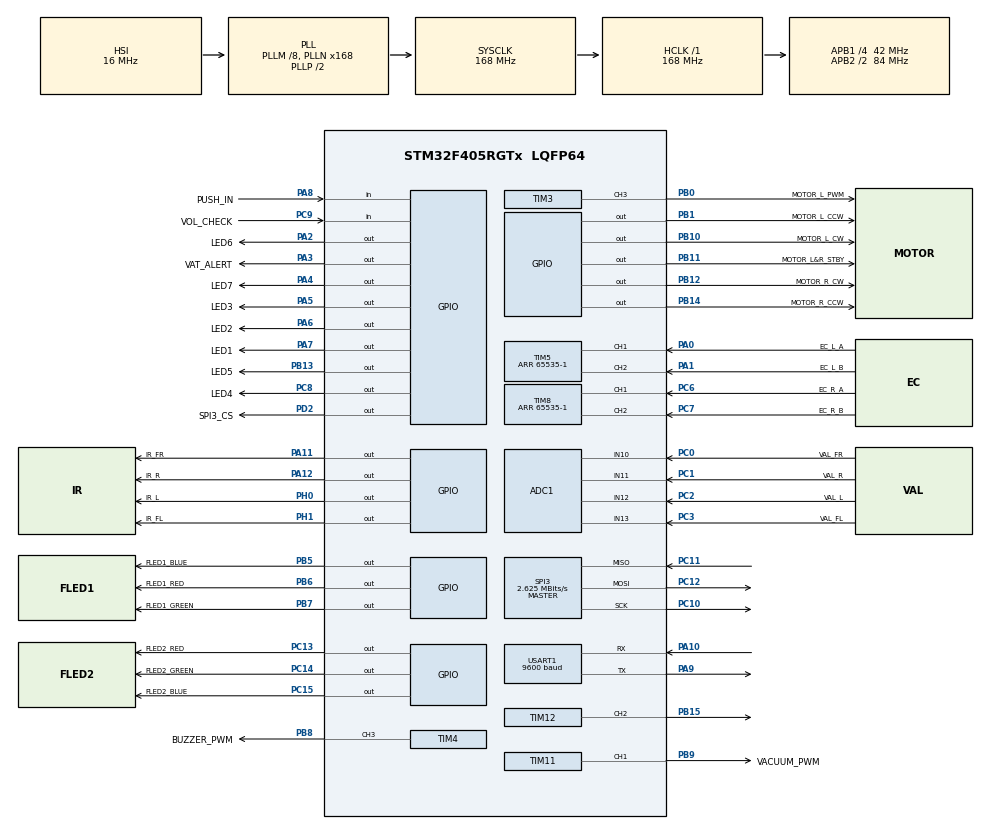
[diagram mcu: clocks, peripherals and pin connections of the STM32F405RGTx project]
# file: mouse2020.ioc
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ADC1.Channel-0\#ChannelRegularConversion=ADC_CHANNEL_10
ADC1.NbrOfConversionFlag=1
ADC1.Rank-0\#ChannelRegularConversion=1
ADC1.SamplingTime-0\#ChannelRegularConversion=ADC_SAMPLETIME_3CYCLES
ADC1.master=1
Mcu.Family=STM32F4
Mcu.Name=STM32F405RGTx
Mcu.Package=LQFP64
NVIC.PriorityGroup=NVIC_PRIORITYGROUP_4
NVIC.TIM6_DAC_IRQn=true\:0\:0\:false\:false\:true\:true\:true
PA0-WKUP.GPIO_Label=EC_L_A
PA0-WKUP.Signal=S_TIM5_CH1
PA1.GPIO_Label=EC_L_B
PA1.Signal=S_TIM5_CH2
PA10.Mode=Asynchronous
PA10.Signal=USART1_RX
PA11.GPIO_Label=IR_FR
PA11.Signal=GPIO_Output
PA12.GPIO_Label=IR_R
PA12.Signal=GPIO_Output
PA2.GPIO_Label=LED6
PA2.Signal=GPIO_Output
PA3.GPIO_Label=VAT_ALERT
PA3.Signal=GPIO_Output
PA4.GPIO_Label=LED7
PA4.Signal=GPIO_Output
PA5.GPIO_Label=LED3
PA5.Signal=GPIO_Output
PA6.GPIO_Label=LED2
PA6.Signal=GPIO_Output
PA7.GPIO_Label=LED1
PA7.Signal=GPIO_Output
PA8.GPIO_Label=PUSH_IN
PA8.Signal=GPIO_Input
PA9.Mode=Asynchronous
PA9.Signal=USART1_TX
PB0.GPIO_Label=MOTOR_L_PWM
PB0.Signal=S_TIM3_CH3
PB1.GPIO_Label=MOTOR_L_CCW
PB1.Signal=GPIO_Output
PB10.GPIO_Label=MOTOR_L_CW
PB10.Signal=GPIO_Output
PB11.GPIO_Label=MOTOR_L&R_STBY
PB11.Signal=GPIO_Output
PB12.GPIO_Label=MOTOR_R_CW
PB12.Signal=GPIO_Output
PB13.GPIO_Label=LED5
PB13.Signal=GPIO_Output
PB14.GPIO_Label=MOTOR_R_CCW
PB14.Signal=GPIO_Output
PB15.Signal=S_TIM12_CH2
PB5.GPIO_Label=FLED1_BLUE
PB5.Signal=GPIO_Output
PB6.GPIO_Label=FLED1_RED
PB6.Signal=GPIO_Output
PB7.GPIO_Label=FLED1_GREEN
PB7.Signal=GPIO_Output
PB8.GPIO_Label=BUZZER_PWM
PB8.Signal=S_TIM4_CH3
PB9.GPIO_Label=VACUUM_PWM
PB9.Signal=S_TIM11_CH1
PC0.GPIO_Label=VAL_FR
PC0.Signal=ADCx_IN10
PC1.GPIO_Label=VAL_R
PC1.Signal=ADCx_IN11
PC10.Mode=Full_Duplex_Master
PC10.Signal=SPI3_SCK
PC11.Mode=Full_Duplex_Master
PC11.Signal=SPI3_MISO
PC12.Mode=Full_Duplex_Master
PC12.Signal=SPI3_MOSI
PC13-ANTI_TAMP.GPIO_Label=FLED2_RED
PC13-ANTI_TAMP.Signal=GPIO_Output
PC14-OSC32_IN.GPIO_Label=FLED2_GREEN
PC14-OSC32_IN.Signal=GPIO_Output
PC15-OSC32_OUT.GPIO_Label=FLED2_BLUE
PC15-OSC32_OUT.Signal=GPIO_Output
PC2.GPIO_Label=VAL_L
PC2.Signal=ADCx_IN12
PC3.GPIO_Label=VAL_FL
PC3.Signal=ADCx_IN13
PC6.GPIO_Label=EC_R_A
PC6.Signal=S_TIM8_CH1
PC7.GPIO_Label=EC_R_B
PC7.Signal=S_TIM8_CH2
PC8.GPIO_Label=LED4
PC8.Signal=GPIO_Output
PC9.GPIO_Label=VOL_CHECK
PC9.GPIO_PuPd=GPIO_PULLUP
PC9.Signal=GPIO_Input
PD2.GPIO_Label=SPI3_CS
PD2.Signal=GPIO_Output
PH0-OSC_IN.GPIO_Label=IR_L
PH0-OSC_IN.Signal=GPIO_Output
PH1-OSC_OUT.GPIO_Label=IR_FL
PH1-OSC_OUT.Signal=GPIO_Output
ProjectManager.HeapSize=0x200
ProjectManager.StackSize=0x400
ProjectManager.TargetToolchain=STM32CubeIDE
RCC.48MHZClocksFreq_Value=84000000
RCC.AHBFreq_Value=168000000
RCC.APB1CLKDivider=RCC_HCLK_DIV4
RCC.APB1Freq_Value=42000000
RCC.APB1TimFreq_Value=84000000
RCC.APB2CLKDivider=RCC_HCLK_DIV2
RCC.APB2Freq_Value=84000000
RCC.APB2TimFreq_Value=168000000
RCC.CortexFreq_Value=168000000
RCC.HCLKFreq_Value=168000000
RCC.HSE_VALUE=25000000
RCC.HSI_VALUE=16000000
RCC.LSE_VALUE=32768
RCC.PLLM=8
RCC.PLLN=168
RCC.SYSCLKFreq_VALUE=168000000
RCC.SYSCLKSource=RCC_SYSCLKSOURCE_PLLCLK
RCC.VCOOutputFreq_Value=336000000
SH.ADCx_IN10.0=ADC1_IN10,IN10
SH.ADCx_IN11.0=ADC1_IN11,IN11
SH.ADCx_IN12.0=ADC1_IN12,IN12
SH.ADCx_IN13.0=ADC1_IN13,IN13
SH.S_TIM11_CH1.0=TIM11_CH1,PWM Generation1 CH1
SH.S_TIM12_CH2.0=TIM12_CH2,PWM Generation2 CH2
SH.S_TIM3_CH3.0=TIM3_CH3,PWM Generation3 CH3
SH.S_TIM4_CH3.0=TIM4_CH3,PWM Generation3 CH3
SH.S_TIM5_CH1.0=TIM5_CH1,Encoder_Interface
SH.S_TIM5_CH2.0=TIM5_CH2,Encoder_Interface
SH.S_TIM8_CH1.0=TIM8_CH1,Encoder_Interface
SH.S_TIM8_CH2.0=TIM8_CH2,Encoder_Interface
SPI3.BaudRatePrescaler=SPI_BAUDRATEPRESCALER_16
SPI3.CalculateBaudRate=2.625 MBits/s
SPI3.Direction=SPI_DIRECTION_2LINES
SPI3.Mode=SPI_MODE_MASTER
SPI3.VirtualType=VM_MASTER
TIM11.Channel=TIM_CHANNEL_1
TIM11.Period=1000-1
TIM12.Channel-PWM\ Generation2\ CH2=TIM_CHANNEL_2
TIM12.Period=1000-1
TIM3.Channel-PWM\ Generation3\ CH3=TIM_CHANNEL_3
TIM3.Period=1000-1
TIM4.Channel-PWM\ Generation3\ CH3=TIM_CHANNEL_3
TIM5.EncoderMode=TIM_ENCODERMODE_TI12
TIM5.Period=65535-1
TIM6.Period=1000-1
TIM6.Prescaler=84-1
TIM8.EncoderMode=TIM_ENCODERMODE_TI12
TIM8.Period=65535-1
USART1.BaudRate=9600
USART1.VirtualMode=VM_ASYNC
VP_TIM11_VS_ClockSourceINT.Mode=Enable_Timer
VP_TIM12_VS_ClockSourceINT.Mode=Internal
VP_TIM3_VS_ClockSourceINT.Mode=Internal
VP_TIM6_VS_ClockSourceINT.Mode=Enable_Timer
board=custom

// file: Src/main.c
/* USER CODE BEGIN Header */
/**
  ******************************************************************************
  * @file           : main.c
  * @brief          : Main program body
  ******************************************************************************
  * @attention
  *
  * <h2><center>&copy; Copyright (c) 2019 STMicroelectronics.
  * All rights reserved.</center></h2>
  *
  * This software component is licensed by ST under BSD 3-Clause license,
  * the "License"; You may not use this file except in compliance with the
  * License. You may obtain a copy of the License at:
  *                        opensource.org/licenses/BSD-3-Clause
  *
  ******************************************************************************
  */
/* USER CODE END Header */

#include "main.h"

/* USER CODE BEGIN Includes */
#include <stdio.h>
#include "math.h"

#define MAIN_C_
#include "global.h"

/* USER CODE END Includes */

ADC_HandleTypeDef hadc1;

SPI_HandleTypeDef hspi3;

TIM_HandleTypeDef htim3;
TIM_HandleTypeDef htim4;
TIM_HandleTypeDef htim5;
TIM_HandleTypeDef htim6;
TIM_HandleTypeDef htim8;
TIM_HandleTypeDef htim11;
TIM_HandleTypeDef htim12;

UART_HandleTypeDef huart1;

/* USER CODE BEGIN PV */
int log_cnt = 0;
int gyro_cnt = 0;
int get_cnt = 0;
//int get_speed_l[log_allay];
//int get_speed_r[log_allay];

/* USER CODE END PV */

void SystemClock_Config(void);
static void MX_GPIO_Init(void);
static void MX_ADC1_Init(void);
static void MX_TIM8_Init(void);
static void MX_TIM5_Init(void);
static void MX_SPI3_Init(void);
static void MX_USART1_UART_Init(void);
static void MX_TIM3_Init(void);
static void MX_TIM12_Init(void);
static void MX_TIM4_Init(void);
static void MX_TIM11_Init(void);
static void MX_TIM6_Init(void);
/* USER CODE BEGIN PFP */
void buzzer(int, int);
int get_adc_value(ADC_HandleTypeDef*, uint32_t);

/* USER CODE END PFP */

/* USER CODE BEGIN 0 */
int __io_putchar(int c) {
  if( c == '\n' ) {
    int _c = '\r';
    HAL_UART_Transmit(&huart1, &_c, 1, 1);
  }
  HAL_UART_Transmit(&huart1, &c, 1, 1);
  return 0;
}

void HAL_TIM_PeriodElapsedCallback(TIM_HandleTypeDef *htim)
{
	TIM_OC_InitTypeDef ConfigOC;
	ConfigOC.OCMode = TIM_OCMODE_PWM1;
	ConfigOC.OCPolarity = TIM_OCPOLARITY_HIGH;
	ConfigOC.OCFastMode = TIM_OCFAST_DISABLE;

	if(htim == &htim6){
		cnt_l = TIM5 -> CNT;
		cnt_r = TIM8 -> CNT;
		if(cnt_l > 40000) cnt_l = cnt_l - 65535;		//0=>65505の値飛び検出用
		if(cnt_r > 40000) cnt_r = cnt_r - 65535;		//0=>65505の値飛び検出用
		cnt_r = cnt_r * -1;								//a回転方向合わせ

		dist_l = dist_l + cnt_l * (DIAMETER * M_PI * 11 / 42 / 4096 / 4);
		dist_r = dist_r + cnt_r * (DIAMETER * M_PI * 11 / 42 / 4096 / 4);

		speed_l = cnt_l * (DIAMETER * M_PI * 11 / 42 / 4096 / 4) / 0.001;
		speed_r = cnt_r * (DIAMETER * M_PI * 11 / 42 / 4096 / 4) / 0.001;

		TIM5 -> CNT = 0;
		TIM8 -> CNT = 0;

		if(MF.FLAG.SPD){
			target_speed_l += accel_l * 0.001;
			target_speed_l = max(min(target_speed_l, speed_max_l), speed_min_l);
			epsilon_l = target_speed_l - speed_l;
			pulse_l = Kpl * epsilon_l;

			target_speed_r += accel_r * 0.001;
			target_speed_r = max(min(target_speed_r, speed_max_r), speed_min_r);
			epsilon_r = target_speed_r - speed_r;
			pulse_r = Kpr * epsilon_r;
		}

		log_cnt ++;

		if(log_cnt >= 5 && MF2.FLAG.LOG){
			log_cnt = 0;
			if(get_cnt < log_allay){
				get_speed_l[get_cnt] = speed_l;
				get_speed_r[get_cnt] = speed_r;
				get_omega[get_cnt] = gyro_read_z();
				get_cnt++;
			}
		}

		//gyro interrupt
//		degree_x += accel_read_x() * 0.001;
//		degree_y += accel_read_y() * 0.001;
//		degree_z += accel_read_z() * 0.001;
//		degree_x += gyro_read_x() * 0.001;
//		degree_y += gyro_read_y() * 0.001;
		degree_z += gyro_read_z() * 0.001;

		//gyro ドリフト量計算
		if(MF2.FLAG.GDRIFT){
			gyro_cnt ++;
			sum_omega_z += gyro_read_z();
			full_led_write1(YELLOW);
			if(gyro_cnt >= 1000) {
				MF2.FLAG.GDRIFT = 0;
				gyro_drift_value = sum_omega_z / gyro_cnt;
				gyro_cnt = 0;
				full_led_write1(BLUEGREEN);
			}
			degree_z = 0;
			target_degree_z = 0;
		}

		if(MF2.FLAG.ENKAI){
			target_dist = TREAD*M_PI/360*(degree_z-target_degree_z);
			if(target_dist > 0){
				target_speed_l = sqrt(2*accel_l*target_dist);
				target_speed_r = -1 * target_speed_l;
			}else{
				target_speed_l = sqrt(2*accel_l*target_dist*-1)*-1;
				target_speed_r = -1 * target_speed_l;
			}

			epsilon_l = target_speed_l - speed_l;
			pulse_l = Kpl * epsilon_l;
			epsilon_r = target_speed_r - speed_r;
			pulse_r = Kpr * epsilon_r;
		}

		if(MF.FLAG.FWALL){
			target_speed_l = (int16_t)(OFFSET_FWALL_L - ad_fl)*0.5;//0.75;
			target_speed_r = (int16_t)(OFFSET_FWALL_R - ad_fr);//*1.5;

			if(target_speed_l*target_speed_l < 2500)target_speed_l = 0;
			if(target_speed_r*target_speed_r < 2500)target_speed_r = 0;
			if(target_speed_l == 0 && target_speed_r == 0){
				MF.FLAG.FWALL = 0;
				MF.FLAG.DRV = 0;
			}

			epsilon_l = target_speed_l - speed_l;
			pulse_l = Kpl * epsilon_l;
			epsilon_r = target_speed_r - speed_r;
			pulse_r = Kpr * epsilon_r;

			pulse_l = min(max(pulse_l, -100), 100);
			pulse_r = min(max(pulse_r, -100), 100);
		}

		if(MF.FLAG.GYRO){
			target_omega_z += target_degaccel_z * 0.001;
			target_omega_z = max(min(target_omega_z, omega_max), omega_min);

			epsilon_omega = target_omega_z - gyro_read_z();

			target_speed_l = speed_G - (target_omega_z + Kp_o*epsilon_omega)/180*M_PI*TREAD/2;
			target_speed_r = speed_G + (target_omega_z + Kp_o*epsilon_omega)/180*M_PI*TREAD/2;

			epsilon_l = target_speed_l - speed_l;
			pulse_l = Kpl * epsilon_l;
			epsilon_r = target_speed_r - speed_r;
			pulse_r = Kpr * epsilon_r;
		}

		//ADchange interrupt
		uint16_t delay;
		tp = (tp+1)%3;

		switch(tp){
		  case 0:
				HAL_GPIO_WritePin(IR_L_GPIO_Port, IR_L_Pin, GPIO_PIN_SET); 	//L
				for(delay=0; delay<sensor_wait; delay++);
				ad_l = get_adc_value(&hadc1, ADC_CHANNEL_12);				//L
				HAL_GPIO_WritePin(IR_L_GPIO_Port, IR_L_Pin, GPIO_PIN_RESET);

				HAL_GPIO_WritePin(IR_R_GPIO_Port, IR_R_Pin, GPIO_PIN_SET);  //R
				for(delay=0; delay<sensor_wait; delay++);
				ad_r = get_adc_value(&hadc1, ADC_CHANNEL_11);				//R
				HAL_GPIO_WritePin(IR_R_GPIO_Port, IR_R_Pin, GPIO_PIN_RESET);
			break;

		  case 1:
				HAL_GPIO_WritePin(IR_FL_GPIO_Port, IR_FL_Pin, GPIO_PIN_SET);//FL
				for(delay=0; delay<sensor_wait; delay++);
				ad_fl = get_adc_value(&hadc1, ADC_CHANNEL_13);				//FL
				HAL_GPIO_WritePin(IR_FL_GPIO_Port, IR_FL_Pin, GPIO_PIN_RESET);

				HAL_GPIO_WritePin(IR_FR_GPIO_Port, IR_FR_Pin, GPIO_PIN_SET);//FR
				for(delay=0; delay<sensor_wait; delay++);
				ad_fr = get_adc_value(&hadc1, ADC_CHANNEL_10);				//FR
				HAL_GPIO_WritePin(IR_FR_GPIO_Port, IR_FR_Pin, GPIO_PIN_RESET);
			break;

		  case 2:
				//
				if(MF.FLAG.WCTRL){
					int16_t dwl_tmp = 0, dwr_tmp = 0;
					if(!MF2.FLAG.V){											//a通常走行時
						dif_l = (int32_t) ad_l - base_l;
						dif_r = (int32_t) ad_r - base_r;

						if(dif_l > CTRL_BASE_L || dif_r > CTRL_BASE_R){
							if(dif_l > CTRL_BASE_L){
								dwl_tmp += CTRL_CONT_W * dif_l;					//a比例制御値を決定
								dwr_tmp += -1 * CTRL_CONT_W * dif_l;			//a比例制御値を決定
							}
							else if(dif_r > CTRL_BASE_R){
								dwl_tmp += -1 * CTRL_CONT_W * dif_r;			//a比例制御値を決定
								dwr_tmp += CTRL_CONT_W * dif_r;					//a比例制御値を決定
							}
							MF2.FLAG.WG = 1;
						}else{
							MF2.FLAG.WG = 0;
						}
					}else{														//a斜め走行時
						dif_l = (int32_t) ad_fl - BASE_FL;
						dif_r = (int32_t) ad_fr - BASE_FR;

						if(dif_l > CTRL_BASE_FL || dif_r > CTRL_BASE_FR){
							if(dif_l > CTRL_BASE_FL){
								dwl_tmp += CTRL_CONT_W * 0.1 * dif_l;				//a比例制御値を決定
								dwr_tmp += -1 * CTRL_CONT_W * 0.1 * dif_l;			//a比例制御値を決定
							}
							else if(dif_r > CTRL_BASE_FR){
								dwl_tmp += -1 * CTRL_CONT_W * 0.2 * dif_r;			//a比例制御値を決定
								dwr_tmp += CTRL_CONT_W * 0.2 * dif_r;				//a比例制御値を決定
							}
							MF2.FLAG.WG = 1;
						}else{
							MF2.FLAG.WG = 0;
						}
					}
					dwl = max(min(CTRL_MAX_W, dwl_tmp), -1 * CTRL_MAX_W);
					dwr = max(min(CTRL_MAX_W, dwr_tmp), -1 * CTRL_MAX_W);
				}else{
					//a制御フラグがなければ壁制御値0
					dwl = dwr = 0;
				}

				if(MF.FLAG.GCTRL){
/*					int16_t dg_tmp = 0;
					dif_g = (int32_t) gyro_read_z() - target_omega_z;		//a角速度閾値越え制御

					if(CTRL_BASE_G < dif_g){					//a角速度変化量が基準よりも大きい時(左回転が発生時)
						dg_tmp += CTRL_CONT_G * dif_g;			//a比例制御値を決定
					}
					else if(-1*CTRL_BASE_G > dif_g){			//a角速度変化量が負の基準よりも小さい時(右回転が発生時)
						dg_tmp += CTRL_CONT_G * dif_g;			//a比例制御値を決定
					}
					dg = max(min(CTRL_MAX_G, dg_tmp), -1 * CTRL_MAX_G);
					dgl = dg;
					dgr = -1*dg;
				}else{
					//a制御フラグがなければ壁制御値0
					dgl = dgr = 0;
				}

					dg = CTRL_CONT_G * gyro_read_z();			//a角速度制御
					dg = CTRL_CONT_G * degree_z;				//a角度制御
*/
					dg = CTRL_CONT_G * (target_degree_z - degree_z);		//a角度制御(目標角度はスタートを0度とし、旋回量と対応付け)

					dg = max(min(CTRL_MAX_G, dg), -1 * CTRL_MAX_G);
					dgl = -1*dg;
					dgr = dg;
				}else{
					//a制御フラグがなければジャイロ制御値0
					dgl = dgr = 0;
				}
				break;
		}

		if(MF.FLAG.DRV){
			if(!MF2.FLAG.WG){
				pulse_l = pulse_l + dgl + dwl;
				pulse_r = pulse_r + dgr + dwr;
//				pulse_l = pulse_l + dgl;
//				pulse_r = pulse_r + dgr;
			}else{
				pulse_l = pulse_l + dgl + dwl;
				pulse_r = pulse_r + dgr + dwr;
//				pulse_l = pulse_l + dwl;
//				pulse_r = pulse_r + dwr;
			}
			pulse_l = min(max(pulse_l, -1000), 1000);
			pulse_r = min(max(pulse_r, -1000), 1000);

			if(pulse_l >= 0){
				drive_dir(0, 0);
				ConfigOC.Pulse = pulse_l;
				HAL_TIM_PWM_ConfigChannel(&htim3, &ConfigOC, TIM_CHANNEL_3);
				HAL_TIM_PWM_Start(&htim3,TIM_CHANNEL_3);
			}
			else if(pulse_l < 0){
				drive_dir(0, 1);
				ConfigOC.Pulse = -pulse_l;
				HAL_TIM_PWM_ConfigChannel(&htim3, &ConfigOC, TIM_CHANNEL_3);
				HAL_TIM_PWM_Start(&htim3,TIM_CHANNEL_3);
			}

			if(pulse_r >= 0){
				drive_dir(1, 0);
				ConfigOC.Pulse = pulse_r;
				HAL_TIM_PWM_ConfigChannel(&htim12, &ConfigOC, TIM_CHANNEL_2);
				HAL_TIM_PWM_Start(&htim12,TIM_CHANNEL_2);
			}
			else if(pulse_r < 0){
				drive_dir(1, 1);
				ConfigOC.Pulse = -pulse_r;
				HAL_TIM_PWM_ConfigChannel(&htim12, &ConfigOC, TIM_CHANNEL_2);
				HAL_TIM_PWM_Start(&htim12,TIM_CHANNEL_2);
			}
		}else{
			drive_dir(0, 2);
			drive_dir(1, 2);
		}

		//wall check
		//----look L----
		if(ad_l > WALL_BASE_L){
			HAL_GPIO_WritePin(LED6_GPIO_Port, LED6_Pin, GPIO_PIN_SET);
		}else{
			HAL_GPIO_WritePin(LED6_GPIO_Port, LED6_Pin, GPIO_PIN_RESET);
		}
		//----look R----
		if(ad_r > WALL_BASE_R){
			HAL_GPIO_WritePin(LED4_GPIO_Port, LED4_Pin, GPIO_PIN_SET);
		}else{
			HAL_GPIO_WritePin(LED4_GPIO_Port, LED4_Pin, GPIO_PIN_RESET);
		}
		//----look FL----
		if(ad_fl > WALL_BASE_FL){
			HAL_GPIO_WritePin(LED7_GPIO_Port, LED7_Pin, GPIO_PIN_SET);
		}else{
			HAL_GPIO_WritePin(LED7_GPIO_Port, LED7_Pin, GPIO_PIN_RESET);
		}
		//----look FR----
		if(ad_fr > WALL_BASE_FR){
			HAL_GPIO_WritePin(LED5_GPIO_Port, LED5_Pin, GPIO_PIN_SET);
		}else{
			HAL_GPIO_WritePin(LED5_GPIO_Port, LED5_Pin, GPIO_PIN_RESET);
		}

		//battery check
		if(HAL_GPIO_ReadPin(VOL_CHECK_GPIO_Port, VOL_CHECK_Pin) == GPIO_PIN_RESET) {	//2.1V以下で赤ランプ点灯=>LiPoが約7Vを下回るとランプ点灯
		   HAL_GPIO_WritePin(VAT_ALERT_GPIO_Port, VAT_ALERT_Pin, GPIO_PIN_SET);
		} else {
		   HAL_GPIO_WritePin(VAT_ALERT_GPIO_Port, VAT_ALERT_Pin, GPIO_PIN_RESET);
		}

		//fail safe
		if(degree_z >= target_degree_z+270 || degree_z <= target_degree_z-270 || dist_r > 500 || dist_l > 500){	//270度以上回転発生でFail Safe
			while(1){
			   drive_dir(0, 2);
			   drive_dir(1, 2);
			   full_led_write1(RED);
		   }
		}
	}
}

/* USER CODE END 0 */

int main(void)
{

  /* MCU Configuration--------------------------------------------------------*/

  /* Reset of all peripherals, Initializes the Flash interface and the Systick. */
  HAL_Init();

  /* Configure the system clock */
  SystemClock_Config();

  /* Initialize all configured peripherals */
  MX_GPIO_Init();
  MX_ADC1_Init();
  MX_TIM8_Init();
  MX_TIM5_Init();
  MX_SPI3_Init();
  MX_USART1_UART_Init();
  MX_TIM3_Init();
  MX_TIM12_Init();
  MX_TIM4_Init();
  MX_TIM11_Init();
  MX_TIM6_Init();
  /* USER CODE BEGIN 2 */
  drive_init();
  gyro_init();
  search_init();
  sensor_init();

  printf("*** Welcome to WMMC ! ***\n");

  setbuf(stdout, NULL);
  HAL_TIM_Encoder_Start(&htim5,TIM_CHANNEL_ALL);
  HAL_TIM_Encoder_Start(&htim8,TIM_CHANNEL_ALL);
  HAL_TIM_Base_Start_IT(&htim6);

  int mode = 0;
  printf("Mode : %d\n", mode);

  /* USER CODE END 2 */

  /* Infinite loop */
  /* USER CODE BEGIN WHILE */
  while (1)
  {
	  led_write(mode & 0b001, mode & 0b010, mode & 0b100);
	  if(dist_r >= 20){
		  mode++;
		  dist_r = 0;
		  if(mode > 7){
			  mode = 0;
		  }
		  printf("Mode : %d\n", mode);
	  }
	  if(dist_r <= -20){
		  mode--;
		  dist_r = 0;
		  if(mode < 0){
			  mode = 7;
		  }
		  printf("Mode : %d\n", mode);
	  }
	  if(dist_l <= -20){
		  dist_l = 0;
		  switch(mode){

			  case 0:
				  HAL_Delay(5000);
				  break;

			  case 1:
				  //----a超新地走行----
				  printf("Simple Run.\n");
				  //MF.FLAG.WEDGE = 1;
	//		  		  simple_run();
				  perfect_run();
				  break;

			  case 2:
				  //----aスラローム走行----
				  printf("slalom Run.\n");
				  //MF.FLAG.WEDGE = 1;
				  slalom_run();
				  break;

			  case 3:
				  //----aスラローム走行&pass圧縮----
				  printf("First Run. (Slalom)\n");
				  pass_test();
				  break;

			  case 4:
				  //----aテストモード選択----
				  test_select();
				  break;

			  case 5:
				  //----sensor check----
				  printf("Sensor Check.\n");
				  sensor_test();
				  break;

			  case 6:
				  //----pitagola sound----
				  while(ad_fl <= WALL_BASE_FL){
					  led_write(1, 1, 1);
					  HAL_Delay(200);
					  led_write(0, 0, 0);
					  HAL_Delay(200);
				  }
				  HAL_Delay(200);
	/*		  		  for(int i=0; i<pita; i++){
					  buzzer(pitagola[i][0], pitagola[i][1]);
				  }
				  for(int i=0; i<m_start; i++){
					  buzzer(mario_start[i][0], mario_start[i][1]);
				  }
				  for(int i=0; i<m_coin; i++){
					  buzzer(mario_coin[i][0], mario_coin[i][1]);
				  }
				  for(int i=0; i<m_select; i++){
					  buzzer(mario_select[i][0], mario_select[i][1]);
				  }
				  HAL_Delay(2000);
				  for(int i=0; i<m_ok; i++){
					  buzzer(mario_ok[i][0], mario_ok[i][1]);
				  }
	*/				  HAL_Delay(2000);
				  for(int i=0; i<m_goal; i++){
					  buzzer(mario_goal[i][0], mario_goal[i][1]);
				  }
				  break;

			  case 7:
				  //----a本番走行用----
				  //MF.FLAG.WEDGE = 1;
	/*		  		  for(int i=0; i<m_select; i++){
					  buzzer(mario_select[i][0], mario_select[i][1]);
				  }
	*///		  		  perfect_run();
				  perfect_slalom();
				  break;
		  }

	  }

    /* USER CODE END WHILE */

  }
}

void SystemClock_Config(void)
{
  RCC_OscInitTypeDef RCC_OscInitStruct = {0};
  RCC_ClkInitTypeDef RCC_ClkInitStruct = {0};

  /** Configure the main internal regulator output voltage
  */
  __HAL_RCC_PWR_CLK_ENABLE();
  __HAL_PWR_VOLTAGESCALING_CONFIG(PWR_REGULATOR_VOLTAGE_SCALE1);
  /** Initializes the CPU, AHB and APB busses clocks
  */
  RCC_OscInitStruct.OscillatorType = RCC_OSCILLATORTYPE_HSI;
  RCC_OscInitStruct.HSIState = RCC_HSI_ON;
  RCC_OscInitStruct.HSICalibrationValue = RCC_HSICALIBRATION_DEFAULT;
  RCC_OscInitStruct.PLL.PLLState = RCC_PLL_ON;
  RCC_OscInitStruct.PLL.PLLSource = RCC_PLLSOURCE_HSI;
  RCC_OscInitStruct.PLL.PLLM = 8;
  RCC_OscInitStruct.PLL.PLLN = 168;
  RCC_OscInitStruct.PLL.PLLP = RCC_PLLP_DIV2;
  RCC_OscInitStruct.PLL.PLLQ = 4;
  if (HAL_RCC_OscConfig(&RCC_OscInitStruct) != HAL_OK)
  {
    Error_Handler();
  }
  /** Initializes the CPU, AHB and APB busses clocks
  */
  RCC_ClkInitStruct.ClockType = RCC_CLOCKTYPE_HCLK|RCC_CLOCKTYPE_SYSCLK
                              |RCC_CLOCKTYPE_PCLK1|RCC_CLOCKTYPE_PCLK2;
  RCC_ClkInitStruct.SYSCLKSource = RCC_SYSCLKSOURCE_PLLCLK;
  RCC_ClkInitStruct.AHBCLKDivider = RCC_SYSCLK_DIV1;
  RCC_ClkInitStruct.APB1CLKDivider = RCC_HCLK_DIV4;
  RCC_ClkInitStruct.APB2CLKDivider = RCC_HCLK_DIV2;

  if (HAL_RCC_ClockConfig(&RCC_ClkInitStruct, FLASH_LATENCY_5) != HAL_OK)
  {
    Error_Handler();
  }
}

static void MX_ADC1_Init(void)
{

  ADC_ChannelConfTypeDef sConfig = {0};

  /** Configure the global features of the ADC (Clock, Resolution, Data Alignment and number of conversion)
  */
  hadc1.Instance = ADC1;
  hadc1.Init.ClockPrescaler = ADC_CLOCK_SYNC_PCLK_DIV4;
  hadc1.Init.Resolution = ADC_RESOLUTION_12B;
  hadc1.Init.ScanConvMode = DISABLE;
  hadc1.Init.ContinuousConvMode = DISABLE;
  hadc1.Init.DiscontinuousConvMode = DISABLE;
  hadc1.Init.ExternalTrigConvEdge = ADC_EXTERNALTRIGCONVEDGE_NONE;
  hadc1.Init.ExternalTrigConv = ADC_SOFTWARE_START;
  hadc1.Init.DataAlign = ADC_DATAALIGN_RIGHT;
  hadc1.Init.NbrOfConversion = 1;
  hadc1.Init.DMAContinuousRequests = DISABLE;
  hadc1.Init.EOCSelection = ADC_EOC_SINGLE_CONV;
  if (HAL_ADC_Init(&hadc1) != HAL_OK)
  {
    Error_Handler();
  }
  /** Configure for the selected ADC regular channel its corresponding rank in the sequencer and its sample time.
  */
  sConfig.Channel = ADC_CHANNEL_10;
  sConfig.Rank = 1;
  sConfig.SamplingTime = ADC_SAMPLETIME_3CYCLES;
  if (HAL_ADC_ConfigChannel(&hadc1, &sConfig) != HAL_OK)
  {
    Error_Handler();
  }

}

static void MX_SPI3_Init(void)
{

  /* SPI3 parameter configuration*/
  hspi3.Instance = SPI3;
  hspi3.Init.Mode = SPI_MODE_MASTER;
  hspi3.Init.Direction = SPI_DIRECTION_2LINES;
  hspi3.Init.DataSize = SPI_DATASIZE_8BIT;
  hspi3.Init.CLKPolarity = SPI_POLARITY_LOW;
  hspi3.Init.CLKPhase = SPI_PHASE_1EDGE;
  hspi3.Init.NSS = SPI_NSS_SOFT;
  hspi3.Init.BaudRatePrescaler = SPI_BAUDRATEPRESCALER_16;
  hspi3.Init.FirstBit = SPI_FIRSTBIT_MSB;
  hspi3.Init.TIMode = SPI_TIMODE_DISABLE;
  hspi3.Init.CRCCalculation = SPI_CRCCALCULATION_DISABLE;
  hspi3.Init.CRCPolynomial = 10;
  if (HAL_SPI_Init(&hspi3) != HAL_OK)
  {
    Error_Handler();
  }

}

static void MX_TIM3_Init(void)
{

  TIM_ClockConfigTypeDef sClockSourceConfig = {0};
  TIM_MasterConfigTypeDef sMasterConfig = {0};
  TIM_OC_InitTypeDef sConfigOC = {0};

  htim3.Instance = TIM3;
  htim3.Init.Prescaler = 0;
  htim3.Init.CounterMode = TIM_COUNTERMODE_UP;
  htim3.Init.Period = 1000-1;
  htim3.Init.ClockDivision = TIM_CLOCKDIVISION_DIV1;
  htim3.Init.AutoReloadPreload = TIM_AUTORELOAD_PRELOAD_DISABLE;
  if (HAL_TIM_Base_Init(&htim3) != HAL_OK)
  {
    Error_Handler();
  }
  sClockSourceConfig.ClockSource = TIM_CLOCKSOURCE_INTERNAL;
  if (HAL_TIM_ConfigClockSource(&htim3, &sClockSourceConfig) != HAL_OK)
  {
    Error_Handler();
  }
  if (HAL_TIM_PWM_Init(&htim3) != HAL_OK)
  {
    Error_Handler();
  }
  sMasterConfig.MasterOutputTrigger = TIM_TRGO_RESET;
  sMasterConfig.MasterSlaveMode = TIM_MASTERSLAVEMODE_DISABLE;
  if (HAL_TIMEx_MasterConfigSynchronization(&htim3, &sMasterConfig) != HAL_OK)
  {
    Error_Handler();
  }
  sConfigOC.OCMode = TIM_OCMODE_PWM1;
  sConfigOC.Pulse = 0;
  sConfigOC.OCPolarity = TIM_OCPOLARITY_HIGH;
  sConfigOC.OCFastMode = TIM_OCFAST_DISABLE;
  if (HAL_TIM_PWM_ConfigChannel(&htim3, &sConfigOC, TIM_CHANNEL_3) != HAL_OK)
  {
    Error_Handler();
  }
  HAL_TIM_MspPostInit(&htim3);

}

static void MX_TIM4_Init(void)
{

  TIM_MasterConfigTypeDef sMasterConfig = {0};
  TIM_OC_InitTypeDef sConfigOC = {0};

  htim4.Instance = TIM4;
  htim4.Init.Prescaler = 0;
  htim4.Init.CounterMode = TIM_COUNTERMODE_UP;
  htim4.Init.Period = 0;
  htim4.Init.ClockDivision = TIM_CLOCKDIVISION_DIV1;
  htim4.Init.AutoReloadPreload = TIM_AUTORELOAD_PRELOAD_DISABLE;
  if (HAL_TIM_PWM_Init(&htim4) != HAL_OK)
  {
    Error_Handler();
  }
  sMasterConfig.MasterOutputTrigger = TIM_TRGO_RESET;
  sMasterConfig.MasterSlaveMode = TIM_MASTERSLAVEMODE_DISABLE;
  if (HAL_TIMEx_MasterConfigSynchronization(&htim4, &sMasterConfig) != HAL_OK)
  {
    Error_Handler();
  }
  sConfigOC.OCMode = TIM_OCMODE_PWM1;
  sConfigOC.Pulse = 0;
  sConfigOC.OCPolarity = TIM_OCPOLARITY_HIGH;
  sConfigOC.OCFastMode = TIM_OCFAST_DISABLE;
  if (HAL_TIM_PWM_ConfigChannel(&htim4, &sConfigOC, TIM_CHANNEL_3) != HAL_OK)
  {
    Error_Handler();
  }
  HAL_TIM_MspPostInit(&htim4);

}

static void MX_TIM5_Init(void)
{

  TIM_Encoder_InitTypeDef sConfig = {0};
  TIM_MasterConfigTypeDef sMasterConfig = {0};

  htim5.Instance = TIM5;
  htim5.Init.Prescaler = 0;
  htim5.Init.CounterMode = TIM_COUNTERMODE_UP;
  htim5.Init.Period = 65535-1;
  htim5.Init.ClockDivision = TIM_CLOCKDIVISION_DIV1;
  htim5.Init.AutoReloadPreload = TIM_AUTORELOAD_PRELOAD_DISABLE;
  sConfig.EncoderMode = TIM_ENCODERMODE_TI12;
  sConfig.IC1Polarity = TIM_ICPOLARITY_RISING;
  sConfig.IC1Selection = TIM_ICSELECTION_DIRECTTI;
  sConfig.IC1Prescaler = TIM_ICPSC_DIV1;
  sConfig.IC1Filter = 0;
  sConfig.IC2Polarity = TIM_ICPOLARITY_RISING;
  sConfig.IC2Selection = TIM_ICSELECTION_DIRECTTI;
  sConfig.IC2Prescaler = TIM_ICPSC_DIV1;
  sConfig.IC2Filter = 0;
  if (HAL_TIM_Encoder_Init(&htim5, &sConfig) != HAL_OK)
  {
    Error_Handler();
  }
  sMasterConfig.MasterOutputTrigger = TIM_TRGO_RESET;
  sMasterConfig.MasterSlaveMode = TIM_MASTERSLAVEMODE_DISABLE;
  if (HAL_TIMEx_MasterConfigSynchronization(&htim5, &sMasterConfig) != HAL_OK)
  {
    Error_Handler();
  }

}

static void MX_TIM6_Init(void)
{

  TIM_MasterConfigTypeDef sMasterConfig = {0};

  htim6.Instance = TIM6;
  htim6.Init.Prescaler = 84-1;
  htim6.Init.CounterMode = TIM_COUNTERMODE_UP;
  htim6.Init.Period = 1000-1;
  htim6.Init.AutoReloadPreload = TIM_AUTORELOAD_PRELOAD_DISABLE;
  if (HAL_TIM_Base_Init(&htim6) != HAL_OK)
  {
    Error_Handler();
  }
  sMasterConfig.MasterOutputTrigger = TIM_TRGO_RESET;
  sMasterConfig.MasterSlaveMode = TIM_MASTERSLAVEMODE_DISABLE;
  if (HAL_TIMEx_MasterConfigSynchronization(&htim6, &sMasterConfig) != HAL_OK)
  {
    Error_Handler();
  }

}

static void MX_TIM8_Init(void)
{

  TIM_Encoder_InitTypeDef sConfig = {0};
  TIM_MasterConfigTypeDef sMasterConfig = {0};

  htim8.Instance = TIM8;
  htim8.Init.Prescaler = 0;
  htim8.Init.CounterMode = TIM_COUNTERMODE_UP;
  htim8.Init.Period = 65535-1;
  htim8.Init.ClockDivision = TIM_CLOCKDIVISION_DIV1;
  htim8.Init.RepetitionCounter = 0;
  htim8.Init.AutoReloadPreload = TIM_AUTORELOAD_PRELOAD_DISABLE;
  sConfig.EncoderMode = TIM_ENCODERMODE_TI12;
  sConfig.IC1Polarity = TIM_ICPOLARITY_RISING;
  sConfig.IC1Selection = TIM_ICSELECTION_DIRECTTI;
  sConfig.IC1Prescaler = TIM_ICPSC_DIV1;
  sConfig.IC1Filter = 0;
  sConfig.IC2Polarity = TIM_ICPOLARITY_RISING;
  sConfig.IC2Selection = TIM_ICSELECTION_DIRECTTI;
  sConfig.IC2Prescaler = TIM_ICPSC_DIV1;
  sConfig.IC2Filter = 0;
  if (HAL_TIM_Encoder_Init(&htim8, &sConfig) != HAL_OK)
  {
    Error_Handler();
  }
  sMasterConfig.MasterOutputTrigger = TIM_TRGO_RESET;
  sMasterConfig.MasterSlaveMode = TIM_MASTERSLAVEMODE_DISABLE;
  if (HAL_TIMEx_MasterConfigSynchronization(&htim8, &sMasterConfig) != HAL_OK)
  {
    Error_Handler();
  }

}

static void MX_TIM11_Init(void)
{

  TIM_OC_InitTypeDef sConfigOC = {0};

  htim11.Instance = TIM11;
  htim11.Init.Prescaler = 0;
  htim11.Init.CounterMode = TIM_COUNTERMODE_UP;
  htim11.Init.Period = 1000-1;
  htim11.Init.ClockDivision = TIM_CLOCKDIVISION_DIV1;
  htim11.Init.AutoReloadPreload = TIM_AUTORELOAD_PRELOAD_DISABLE;
  if (HAL_TIM_Base_Init(&htim11) != HAL_OK)
  {
    Error_Handler();
  }
  if (HAL_TIM_PWM_Init(&htim11) != HAL_OK)
  {
    Error_Handler();
  }
  sConfigOC.OCMode = TIM_OCMODE_PWM1;
  sConfigOC.Pulse = 0;
  sConfigOC.OCPolarity = TIM_OCPOLARITY_HIGH;
  sConfigOC.OCFastMode = TIM_OCFAST_DISABLE;
  if (HAL_TIM_PWM_ConfigChannel(&htim11, &sConfigOC, TIM_CHANNEL_1) != HAL_OK)
  {
    Error_Handler();
  }
  HAL_TIM_MspPostInit(&htim11);

}

static void MX_TIM12_Init(void)
{

  TIM_ClockConfigTypeDef sClockSourceConfig = {0};
  TIM_OC_InitTypeDef sConfigOC = {0};

  htim12.Instance = TIM12;
  htim12.Init.Prescaler = 0;
  htim12.Init.CounterMode = TIM_COUNTERMODE_UP;
  htim12.Init.Period = 1000-1;
  htim12.Init.ClockDivision = TIM_CLOCKDIVISION_DIV1;
  htim12.Init.AutoReloadPreload = TIM_AUTORELOAD_PRELOAD_DISABLE;
  if (HAL_TIM_Base_Init(&htim12) != HAL_OK)
  {
    Error_Handler();
  }
  sClockSourceConfig.ClockSource = TIM_CLOCKSOURCE_INTERNAL;
  if (HAL_TIM_ConfigClockSource(&htim12, &sClockSourceConfig) != HAL_OK)
  {
    Error_Handler();
  }
  if (HAL_TIM_PWM_Init(&htim12) != HAL_OK)
  {
    Error_Handler();
  }
  sConfigOC.OCMode = TIM_OCMODE_PWM1;
  sConfigOC.Pulse = 0;
  sConfigOC.OCPolarity = TIM_OCPOLARITY_HIGH;
  sConfigOC.OCFastMode = TIM_OCFAST_DISABLE;
  if (HAL_TIM_PWM_ConfigChannel(&htim12, &sConfigOC, TIM_CHANNEL_2) != HAL_OK)
  {
    Error_Handler();
  }
  HAL_TIM_MspPostInit(&htim12);

}

static void MX_USART1_UART_Init(void)
{

  huart1.Instance = USART1;
  huart1.Init.BaudRate = 9600;
  huart1.Init.WordLength = UART_WORDLENGTH_8B;
  huart1.Init.StopBits = UART_STOPBITS_1;
  huart1.Init.Parity = UART_PARITY_NONE;
  huart1.Init.Mode = UART_MODE_TX_RX;
  huart1.Init.HwFlowCtl = UART_HWCONTROL_NONE;
  huart1.Init.OverSampling = UART_OVERSAMPLING_16;
  if (HAL_UART_Init(&huart1) != HAL_OK)
  {
    Error_Handler();
  }

}

static void MX_GPIO_Init(void)
{
  GPIO_InitTypeDef GPIO_InitStruct = {0};

  /* GPIO Ports Clock Enable */
  __HAL_RCC_GPIOC_CLK_ENABLE();
  __HAL_RCC_GPIOH_CLK_ENABLE();
  __HAL_RCC_GPIOA_CLK_ENABLE();
  __HAL_RCC_GPIOB_CLK_ENABLE();
  __HAL_RCC_GPIOD_CLK_ENABLE();

  /*Configure GPIO pin Output Level */
  HAL_GPIO_WritePin(GPIOC, FLED2_RED_Pin|FLED2_GREEN_Pin|FLED2_BLUE_Pin|LED4_Pin, GPIO_PIN_RESET);

  /*Configure GPIO pin Output Level */
  HAL_GPIO_WritePin(GPIOH, IR_L_Pin|IR_FL_Pin, GPIO_PIN_RESET);

  /*Configure GPIO pin Output Level */
  HAL_GPIO_WritePin(GPIOA, LED6_Pin|VAT_ALERT_Pin|LED7_Pin|LED3_Pin
                          |LED2_Pin|LED1_Pin|IR_FR_Pin|IR_R_Pin, GPIO_PIN_RESET);

  /*Configure GPIO pin Output Level */
  HAL_GPIO_WritePin(GPIOB, MOTOR_L_CCW_Pin|MOTOR_L_CW_Pin|MOTOR_L_R_STBY_Pin|MOTOR_R_CW_Pin
                          |LED5_Pin|MOTOR_R_CCW_Pin|FLED1_BLUE_Pin|FLED1_RED_Pin
                          |FLED1_GREEN_Pin, GPIO_PIN_RESET);

  /*Configure GPIO pin Output Level */
  HAL_GPIO_WritePin(SPI3_CS_GPIO_Port, SPI3_CS_Pin, GPIO_PIN_RESET);

  /*Configure GPIO pins : FLED2_RED_Pin FLED2_GREEN_Pin FLED2_BLUE_Pin LED4_Pin */
  GPIO_InitStruct.Pin = FLED2_RED_Pin|FLED2_GREEN_Pin|FLED2_BLUE_Pin|LED4_Pin;
  GPIO_InitStruct.Mode = GPIO_MODE_OUTPUT_PP;
  GPIO_InitStruct.Pull = GPIO_NOPULL;
  GPIO_InitStruct.Speed = GPIO_SPEED_FREQ_LOW;
  HAL_GPIO_Init(GPIOC, &GPIO_InitStruct);

  /*Configure GPIO pins : IR_L_Pin IR_FL_Pin */
  GPIO_InitStruct.Pin = IR_L_Pin|IR_FL_Pin;
  GPIO_InitStruct.Mode = GPIO_MODE_OUTPUT_PP;
  GPIO_InitStruct.Pull = GPIO_NOPULL;
  GPIO_InitStruct.Speed = GPIO_SPEED_FREQ_LOW;
  HAL_GPIO_Init(GPIOH, &GPIO_InitStruct);

  /*Configure GPIO pins : LED6_Pin VAT_ALERT_Pin LED7_Pin LED3_Pin
                           LED2_Pin LED1_Pin IR_FR_Pin IR_R_Pin */
  GPIO_InitStruct.Pin = LED6_Pin|VAT_ALERT_Pin|LED7_Pin|LED3_Pin
                          |LED2_Pin|LED1_Pin|IR_FR_Pin|IR_R_Pin;
  GPIO_InitStruct.Mode = GPIO_MODE_OUTPUT_PP;
  GPIO_InitStruct.Pull = GPIO_NOPULL;
  GPIO_InitStruct.Speed = GPIO_SPEED_FREQ_LOW;
  HAL_GPIO_Init(GPIOA, &GPIO_InitStruct);

  /*Configure GPIO pins : MOTOR_L_CCW_Pin MOTOR_L_CW_Pin MOTOR_L_R_STBY_Pin MOTOR_R_CW_Pin
                           LED5_Pin MOTOR_R_CCW_Pin FLED1_BLUE_Pin FLED1_RED_Pin
                           FLED1_GREEN_Pin */
  GPIO_InitStruct.Pin = MOTOR_L_CCW_Pin|MOTOR_L_CW_Pin|MOTOR_L_R_STBY_Pin|MOTOR_R_CW_Pin
                          |LED5_Pin|MOTOR_R_CCW_Pin|FLED1_BLUE_Pin|FLED1_RED_Pin
                          |FLED1_GREEN_Pin;
  GPIO_InitStruct.Mode = GPIO_MODE_OUTPUT_PP;
  GPIO_InitStruct.Pull = GPIO_NOPULL;
  GPIO_InitStruct.Speed = GPIO_SPEED_FREQ_LOW;
  HAL_GPIO_Init(GPIOB, &GPIO_InitStruct);

  /*Configure GPIO pin : VOL_CHECK_Pin */
  GPIO_InitStruct.Pin = VOL_CHECK_Pin;
  GPIO_InitStruct.Mode = GPIO_MODE_INPUT;
  GPIO_InitStruct.Pull = GPIO_PULLUP;
  HAL_GPIO_Init(VOL_CHECK_GPIO_Port, &GPIO_InitStruct);

  /*Configure GPIO pin : PUSH_IN_Pin */
  GPIO_InitStruct.Pin = PUSH_IN_Pin;
  GPIO_InitStruct.Mode = GPIO_MODE_INPUT;
  GPIO_InitStruct.Pull = GPIO_NOPULL;
  HAL_GPIO_Init(PUSH_IN_GPIO_Port, &GPIO_InitStruct);

  /*Configure GPIO pin : SPI3_CS_Pin */
  GPIO_InitStruct.Pin = SPI3_CS_Pin;
  GPIO_InitStruct.Mode = GPIO_MODE_OUTPUT_PP;
  GPIO_InitStruct.Pull = GPIO_NOPULL;
  GPIO_InitStruct.Speed = GPIO_SPEED_FREQ_LOW;
  HAL_GPIO_Init(SPI3_CS_GPIO_Port, &GPIO_InitStruct);

}

/* USER CODE BEGIN 4 */
void buzzer(int sound, int length){
	TIM_OC_InitTypeDef ConfigOC;
	ConfigOC.OCMode = TIM_OCMODE_PWM1;
	ConfigOC.OCPolarity = TIM_OCPOLARITY_HIGH;
	ConfigOC.OCFastMode = TIM_OCFAST_DISABLE;

	hz = 1000000 / sound;
	TIM3 -> ARR = hz;
    ConfigOC.Pulse = hz / 10;
    HAL_TIM_PWM_ConfigChannel(&htim4, &ConfigOC, TIM_CHANNEL_3);
    HAL_TIM_PWM_Start(&htim4, TIM_CHANNEL_3);

	HAL_Delay(length);
    HAL_TIM_PWM_Stop(&htim4, TIM_CHANNEL_3);
}

int get_adc_value(ADC_HandleTypeDef *hadc, uint32_t channel){

  ADC_ChannelConfTypeDef sConfig = {0};

  sConfig.Channel = channel;
  sConfig.Rank = 1;
  sConfig.SamplingTime = ADC_SAMPLETIME_3CYCLES;
  sConfig.Offset = 0;

  HAL_ADC_ConfigChannel(hadc, &sConfig);

  HAL_ADC_Start(hadc);                    //
  HAL_ADC_PollForConversion(hadc, 100);   //wait for ADC
  return HAL_ADC_GetValue(hadc);          //
}

/* USER CODE END 4 */

void Error_Handler(void)
{
}

/************************ (C) COPYRIGHT STMicroelectronics *****END OF FILE****/
